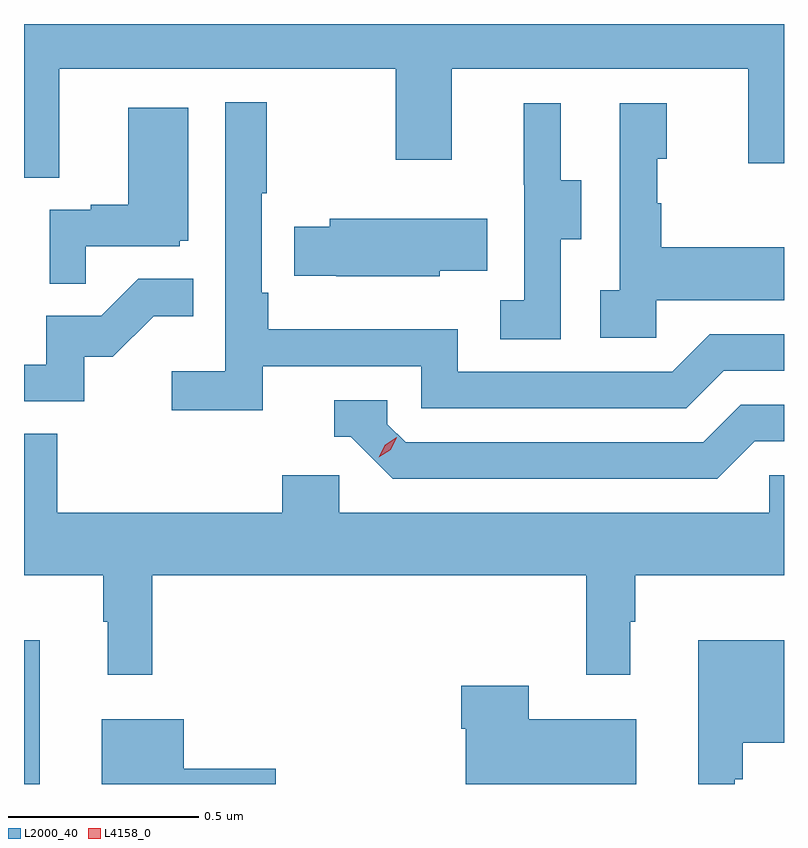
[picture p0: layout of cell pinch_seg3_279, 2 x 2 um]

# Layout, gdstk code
import gdstk
lib = gdstk.Library(unit=1e-6, precision=1e-09)
def R(c, l, rs):  # rectangles x0, y0, x1, y1
    for r in rs: c.add(gdstk.rectangle(r[:2], r[2:], *l))
def P(c, l, *ps):  # polygons
    for p in ps: c.add(gdstk.Polygon(p, *l))
L2000_40 = (2000, 40)
L4158_0 = (4158, 0)

pinch_seg3_279 = lib.new_cell('pinch_seg3_279')
R(pinch_seg3_279, L2000_40, [(911.878,716.35,911.92,716.728)])
P(pinch_seg3_279, L2000_40, [(911.971,718.232),(912.856,718.232),(912.856,717.993),(913.003,717.993),(913.003,718.232),(913.784,718.232),(913.784,717.984),(913.878,717.984),(913.878,718.35),(911.878,718.35),(911.878,717.946),(911.971,717.946)],
  [(912.506,717.45),(912.924,717.45),(912.924,717.339),(913.621,717.339),(913.72,717.438),(913.878,717.438),(913.878,717.534),(913.683,717.534),(913.584,717.435),(913.02,717.435),(913.02,717.547),(912.521,717.547),(912.521,717.643),(912.504,717.643),(912.504,717.904),(912.517,717.904),(912.517,718.144),(912.408,718.144),(912.408,717.436),(912.267,717.436),(912.267,717.334),(912.506,717.334)],
  [(913.542,717.623),(913.878,717.623),(913.878,717.763),(913.555,717.763),(913.555,717.878),(913.545,717.878),(913.545,717.996),(913.57,717.996),(913.57,718.141),(913.446,718.141),(913.446,717.65),(913.395,717.65),(913.395,717.525),(913.542,717.525)],
  [(913.29,717.784),(913.345,717.784),(913.345,717.939),(913.291,717.939),(913.291,718.141),(913.193,718.141),(913.193,717.927),(913.194,717.927),(913.194,717.623),(913.131,717.623),(913.131,717.52),(913.29,717.52)],
  [(912.041,717.765),(912.288,717.765),(912.288,717.78),(912.31,717.78),(912.31,718.129),(912.152,718.129),(912.152,717.874),(912.053,717.874),(912.053,717.861),(911.946,717.861),(911.946,717.667),(912.041,717.667)],
  [(912.972,717.701),(913.097,717.701),(913.097,717.838),(912.683,717.838),(912.683,717.816),(912.589,717.816),(912.589,717.687),(912.7,717.687),(912.7,717.686),(912.972,717.686)],
  [(912.036,717.474),(912.112,717.474),(912.219,717.581),(912.323,717.581),(912.323,717.68),(912.179,717.68),(912.081,717.582),(911.937,717.582),(911.937,717.453),(911.878,717.453),(911.878,717.357),(912.036,717.357)],
  [(913.801,717.252),(913.878,717.252),(913.878,717.348),(913.764,717.348),(913.665,717.249),(912.882,717.249),(912.834,717.297),(912.834,717.36),(912.695,717.36),(912.695,717.264),(912.738,717.264),(912.849,717.153),(913.702,717.153)],
  [(912.708,717.162),(912.557,717.162),(912.557,717.064),(911.966,717.064),(911.966,717.272),(911.878,717.272),(911.878,716.9),(912.087,716.9),(912.087,716.777),(912.098,716.777),(912.098,716.637),(912.215,716.637),(912.215,716.9),(913.357,716.9),(913.357,716.637),(913.474,716.637),(913.474,716.777),(913.486,716.777),(913.486,716.9),(913.878,716.9),(913.878,717.162),(913.839,717.162),(913.839,717.064),(912.708,717.064)],
  [(913.749,716.363),(913.769,716.363),(913.769,716.459),(913.878,716.459),(913.878,716.728),(913.652,716.728),(913.652,716.35),(913.749,716.35)],
  [(913.489,716.521),(913.206,716.521),(913.206,716.608),(913.028,716.608),(913.028,716.495),(913.04,716.495),(913.04,716.35),(913.489,716.35)],
  [(912.541,716.39),(912.298,716.39),(912.298,716.521),(912.083,716.521),(912.083,716.35),(912.541,716.35)])
P(pinch_seg3_279, L4158_0, [(912.811,717.21),(912.811,717.21),(912.828,717.243),(912.859,717.262),(912.859,717.262),(912.859,717.262),(912.843,717.23),(912.812,717.21)])

lib.write_gds('pinch_seg3_279.gds')
